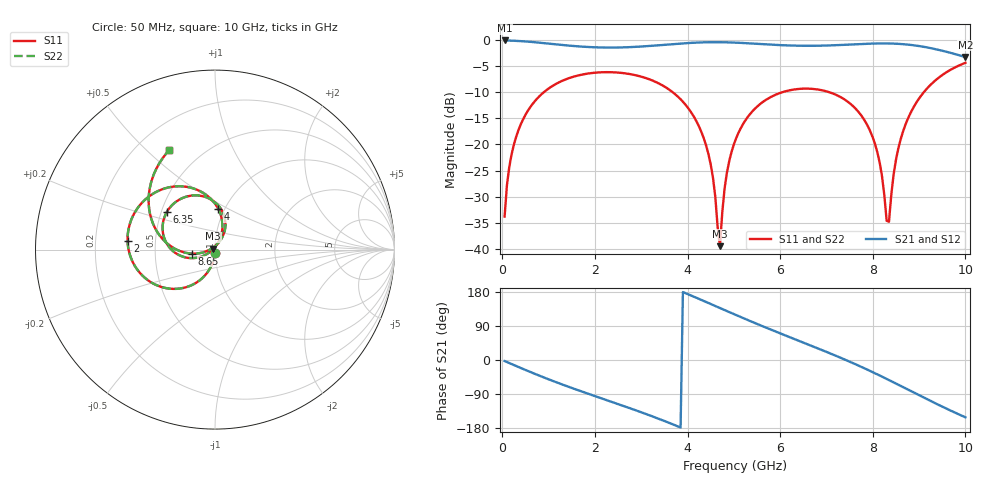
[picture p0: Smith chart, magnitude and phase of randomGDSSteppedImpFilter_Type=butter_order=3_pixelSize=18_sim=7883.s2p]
! freq	dB(S11)	phase(S11)	dB(S12)	phase(S12)
!  dB(S21)	phase(S21)	dB(S22)	phase(S22)
!S-par simulation data
#  GHz  S  DB  R 50
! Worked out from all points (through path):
!   200 points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, 50 MHz to 10 GHz, reference 50 ohm
!   highest |S21| = -0.01 dB at 50 MHz (marker M1); lowest = -3.2 dB at 10 GHz (marker M2)
!   group delay of S21, straight-line fit = 140 ps
!   lowest |S11| = -39.5 dB at 4.7 GHz (marker M3), VSWR 1.02, Z = 49.1 + j0.438 ohm
!   |S11| at or under -10 dB: start of sweep to 891 MHz; 3.686 GHz to 6.031 GHz (2.345 GHz wide, 48.3 % of centre); 7.077 GHz to 9.098 GHz (2.021 GHz wide, 25 % of centre)
!   |S22| runs from -39.5 to -4.3 dB; largest |S21 - S12| = 0
!   S11 on the Smith chart (normalised r, x): 50 MHz: 1.00, -0.04; 2 GHz: 0.34, +0.04; 4 GHz: 0.93, +0.45; 6.35 GHz: 0.53, +0.25; 8.65 GHz: 0.77, -0.03; 10 GHz: 0.33, +0.59
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0.05  -33.85 -92.8  -0.01 -2.7  -0.01 -2.7  -33.85 -92.8
0.2  -21.92 -101.1  -0.05 -10.7  -0.05 -10.7  -21.92 -101.1
0.5  -14.31 -116.7  -0.20 -26.3  -0.20 -26.3  -14.31 -116.7
1.75  -6.52 -175.1  -1.21 -84.6  -1.21 -84.6  -6.52 -175.1
2  -6.20 174.3  -1.32 -95.2  -1.32 -95.2  -6.20 174.3
3.4  -8.35 114.0  -0.91 -156.2  -0.91 -156.2  -8.35 113.9
4  -12.84 85.5  -0.51 174.2  -0.51 174.2  -12.84 85.5
4.45  -21.80 66.2  -0.35 150.5  -0.35 150.5  -21.80 66.1
4.7  -39.54 154.9  -0.34 137.2  -0.34 137.2  -39.53 154.9
4.85  -25.43 -151.2  -0.37 129.1  -0.37 129.1  -25.43 -151.3
5.05  -18.79 -156.4  -0.43 118.5  -0.43 118.5  -18.79 -156.5
5.55  -12.35 -179.6  -0.68 92.7  -0.68 92.7  -12.35 -179.7
6.35  -9.37 142.4  -1.01 53.3  -1.01 53.3  -9.37 142.2
6.7  -9.31 125.8  -1.03 36.3  -1.03 36.3  -9.31 125.6
7.85  -15.77 69.3  -0.65 -23.6  -0.65 -23.6  -15.77 68.9
8.1  -21.53 60.1  -0.58 -38.0  -0.58 -38.0  -21.55 59.3
8.3  -34.67 96.9  -0.58 -49.9  -0.58 -49.9  -35.08 95.0
8.35  -34.84 156.4  -0.58 -52.9  -0.58 -52.9  -35.30 158.1
8.45  -25.78 -168.9  -0.61 -59.0  -0.61 -59.0  -25.84 -167.8
8.65  -17.60 -170.4  -0.72 -71.3  -0.72 -71.3  -17.61 -170.0
9.2  -8.96 160.0  -1.39 -105.1  -1.39 -105.1  -8.97 160.1
10  -4.30 115.0  -3.19 -151.3  -3.19 -151.3  -4.30 115.0
